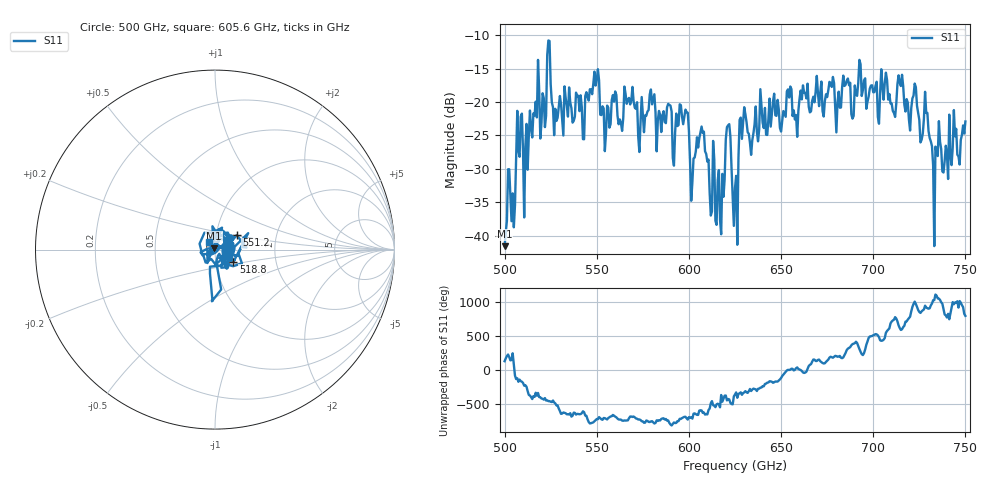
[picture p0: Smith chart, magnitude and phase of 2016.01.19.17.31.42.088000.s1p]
!Created with skrf (http://scikit-rf.org).
# GHz S RI R 50.0
!freq ReS11 ImS11
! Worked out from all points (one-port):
!   401 points, 500 GHz to 750 GHz, reference 50 ohm
!   lowest |S11| = -41.5 dB at 500 GHz (marker M1), VSWR 1.02, Z = 49.5 + j0.634 ohm
!   |S11| at or under -10 dB: start of sweep to end of sweep
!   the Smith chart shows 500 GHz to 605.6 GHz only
!   S11 on the Smith chart (normalised r, x): 500 GHz: 0.99, +0.01; 518.8 GHz: 1.22, -0.17; 551.2 GHz: 1.26, +0.21; 605.6 GHz: 0.93, +0.08
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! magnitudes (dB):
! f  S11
! 500 GHz  -41.5
! 501.9 GHz  -30.1
! 505 GHz  -38.7
! 508.1 GHz  -28.2
! 511.2 GHz  -26.7
! 518.8 GHz  -18.2
! 524.4 GHz  -10.9
! 526.9 GHz  -25.0
! 531.2 GHz  -22.8
! 551.2 GHz  -16.8
! 562.5 GHz  -22.6
! 566.2 GHz  -20.3
! 593.8 GHz  -23.6
! 598.8 GHz  -21.5
! 601.9 GHz  -32.0
! 605.6 GHz  -25.4
! 616.2 GHz  -30.2
! 621.2 GHz  -23.5
! 625 GHz  -32.9
! 628.8 GHz  -25.5
! 656.2 GHz  -22.1
! 687.5 GHz  -17.1
! 711.2 GHz  -21.7
! 714.4 GHz  -17.1
! 718.8 GHz  -20.1
! 728.8 GHz  -21.6
! 733.8 GHz  -26.7
! 750 GHz  -22.9
